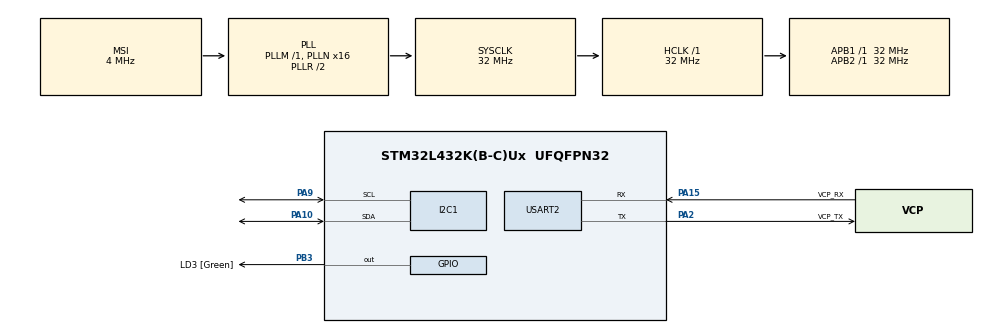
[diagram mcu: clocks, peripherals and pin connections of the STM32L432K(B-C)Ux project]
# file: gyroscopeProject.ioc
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I2C1.Timing=0x00B07CB4
Mcu.Family=STM32L4
Mcu.Name=STM32L432K(B-C)Ux
Mcu.Package=UFQFPN32
NVIC.PriorityGroup=NVIC_PRIORITYGROUP_4
PA0.GPIO_Label=MCO [High speed clock in]
PA0.Mode=HSE-External-Clock-Source-for-LittleOrca
PA0.Signal=RCC_CK_IN
PA10.Mode=I2C
PA10.Signal=I2C1_SDA
PA13\ (JTMS-SWDIO).GPIO_Label=SWDIO
PA13\ (JTMS-SWDIO).Mode=Serial_Wire
PA13\ (JTMS-SWDIO).Signal=SYS_JTMS-SWDIO
PA14\ (JTCK-SWCLK).GPIO_Label=SWCLK
PA14\ (JTCK-SWCLK).Mode=Serial_Wire
PA14\ (JTCK-SWCLK).Signal=SYS_JTCK-SWCLK
PA15\ (JTDI).GPIO_Label=VCP_RX
PA15\ (JTDI).Mode=Asynchronous
PA15\ (JTDI).Signal=USART2_RX
PA2.GPIO_Label=VCP_TX
PA2.Mode=Asynchronous
PA2.Signal=USART2_TX
PA9.Mode=I2C
PA9.Signal=I2C1_SCL
PB3\ (JTDO-TRACESWO).GPIO_Label=LD3 [Green]
PB3\ (JTDO-TRACESWO).Signal=GPIO_Output
PC14-OSC32_IN\ (PC14).Mode=LSE-External-Oscillator
PC14-OSC32_IN\ (PC14).Signal=RCC_OSC32_IN
PC15-OSC32_OUT\ (PC15).Mode=LSE-External-Oscillator
PC15-OSC32_OUT\ (PC15).Signal=RCC_OSC32_OUT
ProjectManager.HeapSize=0x200
ProjectManager.StackSize=0x400
ProjectManager.TargetToolchain=STM32CubeIDE
RCC.AHBFreq_Value=32000000
RCC.APB1Freq_Value=32000000
RCC.APB1TimFreq_Value=32000000
RCC.APB2Freq_Value=32000000
RCC.APB2TimFreq_Value=32000000
RCC.CortexFreq_Value=32000000
RCC.HCLKFreq_Value=32000000
RCC.HSE_VALUE=8000000
RCC.HSI16_VALUE=16000000
RCC.HSI48_VALUE=48000000
RCC.HSI_VALUE=16000000
RCC.MSI_VALUE=4000000
RCC.PLLMUL=RCC_PLLMUL_4
RCC.PLLN=16
RCC.SYSCLKFreq_VALUE=32000000
RCC.SYSCLKSource=RCC_SYSCLKSOURCE_PLLCLK
RCC.VCOOutputFreq_Value=64000000
USART2.VirtualMode-Asynchronous=VM_ASYNC
board=NUCLEO-L432KC

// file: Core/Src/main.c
/* USER CODE BEGIN Header */
/**
  ******************************************************************************
  * @file           : main.c
  * @brief          : Main program body
  ******************************************************************************
  * @attention
  *
  * Copyright (c) 2025 STMicroelectronics.
  * All rights reserved.
  *
  * This software is licensed under terms that can be found in the LICENSE file
  * in the root directory of this software component.
  * If no LICENSE file comes with this software, it is provided AS-IS.
  *
  ******************************************************************************
  */
/* USER CODE END Header */
#include "main.h"

/* USER CODE BEGIN PD */
#define PUTCHAR_PROTOTYPE int __io_putchar(int ch)
#define GETCHAR_PROTOTYPE int __io_getchar (void)
/* USER CODE END PD */

I2C_HandleTypeDef hi2c1;

UART_HandleTypeDef huart2;

void SystemClock_Config(void);
static void MX_GPIO_Init(void);
static void MX_USART2_UART_Init(void);
static void MX_I2C1_Init(void);

/* USER CODE BEGIN 0 */
#define MPU6050_ADDR 0xD0

#define SMPLRT_DIV_REG 0x19
#define GYRO_CONFIG_REG 0x1B
#define ACCEL_CONFIG_REG 0x1C
#define ACCEL_XOUT_H_REG 0x3B
#define TEMP_OUT_H_REG 0x41
#define GYRO_XOUT_H_REG 0x43
#define PWR_MGMT_1_REG 0x6B
#define WHO_AM_I_REG 0x75

int16_t Accel_X_RAW = 0;
int16_t Accel_Y_RAW = 0;
int16_t Accel_Z_RAW = 0;

int16_t Gyro_X_RAW = 0;
int16_t Gyro_Y_RAW = 0;
int16_t Gyro_Z_RAW = 0;

float Ax, Ay, Az, Gx, Gy, Gz;

void MPU6050_Init (void)
{
	uint8_t check;
	uint8_t Data;

	// check device ID WHO_AM_I
	HAL_I2C_Mem_Read (&hi2c1, MPU6050_ADDR, 0x75, 1, &check, 1, 1000);
	if (check == 0x68)  // 0x68 will be returned by the sensor if everything goes well
	{
		// power management register 0X6B we should write all 0's to wake the sensor up
		Data = 0;
		HAL_I2C_Mem_Write(&hi2c1, MPU6050_ADDR, 0x6B, 1,&Data, 1, 1000);

		// Set DATA RATE of 1KHz by writing SMPLRT_DIV register
		Data = 0x07;
		HAL_I2C_Mem_Write(&hi2c1, MPU6050_ADDR, 0x19, 1, &Data, 1, 1000);

		// Set Gyroscopic configuration in GYRO_CONFIG Register
		Data = 0x00;  // XG_ST=0,YG_ST=0,ZG_ST=0, FS_SEL=0 -> ± 250 ̐/s
		HAL_I2C_Mem_Write(&hi2c1, MPU6050_ADDR, 0x1B, 1, &Data, 1, 1000);

		// Set accelerometer configuration in ACCEL_CONFIG Register
		Data = 0x00;  // XA_ST=0,YA_ST=0,ZA_ST=0, FS_SEL=0 -> ± 2g
		HAL_I2C_Mem_Write(&hi2c1, MPU6050_ADDR, 0x1C, 1, &Data, 1, 1000);
	}

}

void MPU6050_Read_Accel (void)
{
	uint8_t Rec_Data[6];

	// Read 6 BYTES of data starting from ACCEL_XOUT_H (0x3B) register
	HAL_I2C_Mem_Read (&hi2c1, MPU6050_ADDR, 0x3B, 1, Rec_Data, 6, 1000);

	Accel_X_RAW = (int16_t)(Rec_Data[0] << 8 | Rec_Data [1]);
	Accel_Y_RAW = (int16_t)(Rec_Data[2] << 8 | Rec_Data [3]);
	Accel_Z_RAW = (int16_t)(Rec_Data[4] << 8 | Rec_Data [5]);

	/*** convert the RAW values into acceleration in 'g'
	     we have to divide according to the Full scale value set in FS_SEL
	     I have configured FS_SEL = 0. So I am dividing by 16384.0
	     for more details check ACCEL_CONFIG Register              ****/

	Ax = (float)Accel_X_RAW/16384.0;
	Ay = (float)Accel_Y_RAW/16384.0;
	Az = (float)Accel_Z_RAW/16384.0;
}

void MPU6050_Read_Gyro (void)
{
	uint8_t Rec_Data[6];

	// Read 6 BYTES of data starting from GYRO_XOUT_H register
	HAL_I2C_Mem_Read (&hi2c1, MPU6050_ADDR, 0x43, 1, Rec_Data, 6, 1000);

	Gyro_X_RAW = (int16_t)(Rec_Data[0] << 8 | Rec_Data [1]);
	Gyro_Y_RAW = (int16_t)(Rec_Data[2] << 8 | Rec_Data [3]);
	Gyro_Z_RAW = (int16_t)(Rec_Data[4] << 8 | Rec_Data [5]);

	/*** convert the RAW values into dps (ｰ/s)
	     we have to divide according to the Full scale value set in FS_SEL
	     I have configured FS_SEL = 0. So I am dividing by 131.0
	     for more details check GYRO_CONFIG Register              ****/

	Gx = (float)Gyro_X_RAW/131.0;
	Gy = (float)Gyro_Y_RAW/131.0;
	Gz = (float)Gyro_Z_RAW/131.0;
}

/* USER CODE END 0 */

int main(void)
{

  /* MCU Configuration--------------------------------------------------------*/

  /* Reset of all peripherals, Initializes the Flash interface and the Systick. */
  HAL_Init();

  /* Configure the system clock */
  SystemClock_Config();

  /* Initialize all configured peripherals */
  MX_GPIO_Init();
  MX_USART2_UART_Init();
  MX_I2C1_Init();
  /* USER CODE BEGIN 2 */
  MPU6050_Init();
  //printf("Putty Initialized\r\n");

  /* USER CODE END 2 */

  /* Infinite loop */
  while (1)
  {

    /* USER CODE BEGIN 3 */
	  // read the Accelerometer and Gyro values
	  MPU6050_Read_Accel();
	  MPU6050_Read_Gyro();
	  printf("Az: %.2f\r\n", Az);
	  HAL_Delay(50);
  }
  /* USER CODE END 3 */
}

void SystemClock_Config(void)
{
  RCC_OscInitTypeDef RCC_OscInitStruct = {0};
  RCC_ClkInitTypeDef RCC_ClkInitStruct = {0};

  /** Configure the main internal regulator output voltage
  */
  if (HAL_PWREx_ControlVoltageScaling(PWR_REGULATOR_VOLTAGE_SCALE1) != HAL_OK)
  {
    Error_Handler();
  }

  /** Configure LSE Drive Capability
  */
  HAL_PWR_EnableBkUpAccess();
  __HAL_RCC_LSEDRIVE_CONFIG(RCC_LSEDRIVE_LOW);

  /** Initializes the RCC Oscillators according to the specified parameters
  * in the RCC_OscInitTypeDef structure.
  */
  RCC_OscInitStruct.OscillatorType = RCC_OSCILLATORTYPE_LSE|RCC_OSCILLATORTYPE_MSI;
  RCC_OscInitStruct.LSEState = RCC_LSE_ON;
  RCC_OscInitStruct.MSIState = RCC_MSI_ON;
  RCC_OscInitStruct.MSICalibrationValue = 0;
  RCC_OscInitStruct.MSIClockRange = RCC_MSIRANGE_6;
  RCC_OscInitStruct.PLL.PLLState = RCC_PLL_ON;
  RCC_OscInitStruct.PLL.PLLSource = RCC_PLLSOURCE_MSI;
  RCC_OscInitStruct.PLL.PLLM = 1;
  RCC_OscInitStruct.PLL.PLLN = 16;
  RCC_OscInitStruct.PLL.PLLP = RCC_PLLP_DIV7;
  RCC_OscInitStruct.PLL.PLLQ = RCC_PLLQ_DIV2;
  RCC_OscInitStruct.PLL.PLLR = RCC_PLLR_DIV2;
  if (HAL_RCC_OscConfig(&RCC_OscInitStruct) != HAL_OK)
  {
    Error_Handler();
  }

  /** Initializes the CPU, AHB and APB buses clocks
  */
  RCC_ClkInitStruct.ClockType = RCC_CLOCKTYPE_HCLK|RCC_CLOCKTYPE_SYSCLK
                              |RCC_CLOCKTYPE_PCLK1|RCC_CLOCKTYPE_PCLK2;
  RCC_ClkInitStruct.SYSCLKSource = RCC_SYSCLKSOURCE_PLLCLK;
  RCC_ClkInitStruct.AHBCLKDivider = RCC_SYSCLK_DIV1;
  RCC_ClkInitStruct.APB1CLKDivider = RCC_HCLK_DIV1;
  RCC_ClkInitStruct.APB2CLKDivider = RCC_HCLK_DIV1;

  if (HAL_RCC_ClockConfig(&RCC_ClkInitStruct, FLASH_LATENCY_1) != HAL_OK)
  {
    Error_Handler();
  }

  /** Enable MSI Auto calibration
  */
  HAL_RCCEx_EnableMSIPLLMode();
}

static void MX_I2C1_Init(void)
{

  hi2c1.Instance = I2C1;
  hi2c1.Init.Timing = 0x00B07CB4;
  hi2c1.Init.OwnAddress1 = 0;
  hi2c1.Init.AddressingMode = I2C_ADDRESSINGMODE_7BIT;
  hi2c1.Init.DualAddressMode = I2C_DUALADDRESS_DISABLE;
  hi2c1.Init.OwnAddress2 = 0;
  hi2c1.Init.OwnAddress2Masks = I2C_OA2_NOMASK;
  hi2c1.Init.GeneralCallMode = I2C_GENERALCALL_DISABLE;
  hi2c1.Init.NoStretchMode = I2C_NOSTRETCH_DISABLE;
  if (HAL_I2C_Init(&hi2c1) != HAL_OK)
  {
    Error_Handler();
  }

  /** Configure Analogue filter
  */
  if (HAL_I2CEx_ConfigAnalogFilter(&hi2c1, I2C_ANALOGFILTER_ENABLE) != HAL_OK)
  {
    Error_Handler();
  }

  /** Configure Digital filter
  */
  if (HAL_I2CEx_ConfigDigitalFilter(&hi2c1, 0) != HAL_OK)
  {
    Error_Handler();
  }

}

static void MX_USART2_UART_Init(void)
{

  huart2.Instance = USART2;
  huart2.Init.BaudRate = 115200;
  huart2.Init.WordLength = UART_WORDLENGTH_8B;
  huart2.Init.StopBits = UART_STOPBITS_1;
  huart2.Init.Parity = UART_PARITY_NONE;
  huart2.Init.Mode = UART_MODE_TX_RX;
  huart2.Init.HwFlowCtl = UART_HWCONTROL_NONE;
  huart2.Init.OverSampling = UART_OVERSAMPLING_16;
  huart2.Init.OneBitSampling = UART_ONE_BIT_SAMPLE_DISABLE;
  huart2.AdvancedInit.AdvFeatureInit = UART_ADVFEATURE_NO_INIT;
  if (HAL_UART_Init(&huart2) != HAL_OK)
  {
    Error_Handler();
  }

}

static void MX_GPIO_Init(void)
{
  GPIO_InitTypeDef GPIO_InitStruct = {0};

  /* GPIO Ports Clock Enable */
  __HAL_RCC_GPIOC_CLK_ENABLE();
  __HAL_RCC_GPIOA_CLK_ENABLE();
  __HAL_RCC_GPIOB_CLK_ENABLE();

  /*Configure GPIO pin Output Level */
  HAL_GPIO_WritePin(LD3_GPIO_Port, LD3_Pin, GPIO_PIN_RESET);

  /*Configure GPIO pin : LD3_Pin */
  GPIO_InitStruct.Pin = LD3_Pin;
  GPIO_InitStruct.Mode = GPIO_MODE_OUTPUT_PP;
  GPIO_InitStruct.Pull = GPIO_NOPULL;
  GPIO_InitStruct.Speed = GPIO_SPEED_FREQ_LOW;
  HAL_GPIO_Init(LD3_GPIO_Port, &GPIO_InitStruct);

}

/* USER CODE BEGIN 4 */
PUTCHAR_PROTOTYPE
{
  /* Place your implementation of fputc here */
  /* e.g. write a character to the USART1 and Loop until the end of transmission */
  HAL_UART_Transmit(&huart2, (uint8_t *)&ch, 1, 0xFFFF);
  return ch;
}

GETCHAR_PROTOTYPE
{
  uint8_t ch = 0;
  // Clear the Overrun flag just before receiving the first character
  __HAL_UART_CLEAR_OREFLAG(&huart2);

  HAL_UART_Receive(&huart2, (uint8_t *)&ch, 1, 5);
  return ch;
}
/* USER CODE END 4 */

void Error_Handler(void)
{
  __disable_irq();
  while (1)
  {
  }
}
